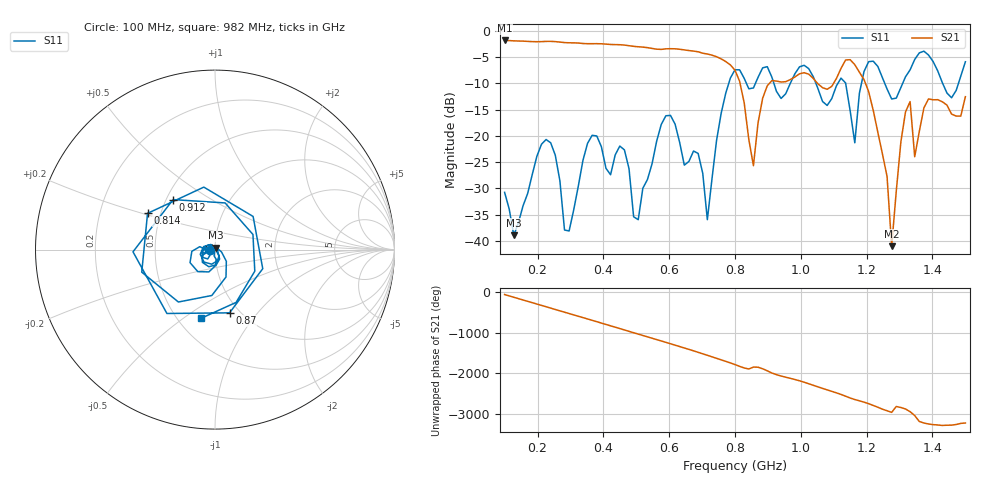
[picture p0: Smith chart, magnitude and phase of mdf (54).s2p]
! NanoVNA-App
! Date: 2025-09-25 15:38:51
! Start: 100MHz Stop: 1,5GHz Points: 101
! S-Parameter data: F S11 S21 S12 S22
# Hz S RI R 50
!  Frequency  S11_Real  S11_Imag  S21_Real  S21_Imag  S12_Real  S12_Imag  S22_Real  S22_Imag
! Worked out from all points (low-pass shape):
!   101 points, 100 MHz to 1.5 GHz, reference 50 ohm
!   highest |S21| = -1.80 dB at 100 MHz (marker M1); lowest = -41.0 dB at 1.276 GHz (marker M2)
!   |S21| within 3 dB of the highest: start of sweep to 739.4 MHz
!   lowest |S11| = -38.9 dB at 128 MHz (marker M3), VSWR 1.02, Z = 50.3 + j1.08 ohm
!   |S11| at or under -10 dB: start of sweep to 780.9 MHz; 1.046 GHz to 1.112 GHz (66.54 MHz wide, 6.17 % of centre); 1.255 GHz to 1.309 GHz (54.19 MHz wide, 4.23 % of centre) (the widest 3 of 7)
!   S12 and S22 are empty: the file has one direction only
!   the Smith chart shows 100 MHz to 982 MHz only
!   S11 on the Smith chart (normalised r, x): 100 MHz: 0.94, -0.01; 814 MHz: 0.42, +0.21; 870 MHz: 0.90, -0.73; 912 MHz: 0.54, +0.35; 982 MHz: 0.65, -0.58
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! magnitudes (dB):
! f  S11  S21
! 100 MHz  -30.8  -1.8
! 128 MHz  -38.9  -1.9
! 212 MHz  -21.6  -2.0
! 282 MHz  -37.9  -2.2
! 338 MHz  -24.7  -2.4
! 464 MHz  -22.7  -2.7
! 506 MHz  -36.0  -3.0
! 576 MHz  -17.8  -3.5
! 716 MHz  -36.0  -4.4
! 800 MHz  -7.4  -7.5
! 814 MHz  -7.4  -9.6
! 856 MHz  -10.9  -25.7
! 870 MHz  -8.8  -17.5
! 912 MHz  -8.8  -9.5
! 982 MHz  -8.1  -8.8
! 1.038 GHz  -8.7  -9.1
! 1.164 GHz  -21.3  -6.4
! 1.192 GHz  -7.7  -9.3
! 1.276 GHz  -13.0  -41.0
! 1.332 GHz  -7.4  -13.5
! 1.346 GHz  -5.4  -24.0
! 1.5 GHz  -5.9  -12.5
